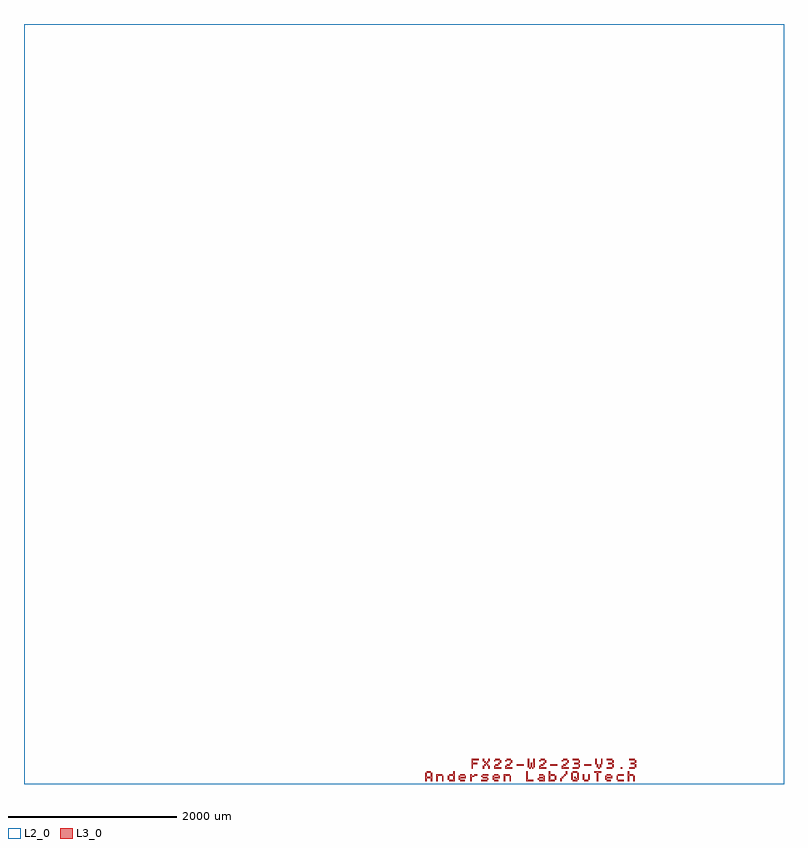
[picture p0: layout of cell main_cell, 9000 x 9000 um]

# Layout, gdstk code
import gdstk
lib = gdstk.Library(unit=1e-6, precision=1e-09)
def R(c, l, rs):  # rectangles x0, y0, x1, y1
    for r in rs: c.add(gdstk.rectangle(r[:2], r[2:], *l))
def A(c, l, x, y, w, h, nx, ny, dx, dy):  # array of equal rectangles
    R(c, l, [(x+i*dx, y+j*dy, x+i*dx+w, y+j*dy+h) for i in range(nx) for j in range(ny)])
def P(c, l, *ps):  # polygons
    for p in ps: c.add(gdstk.Polygon(p, *l))
L2_0 = (2, 0)
L3_0 = (3, 0)

main_cell = lib.new_cell('main_cell')
R(main_cell, L2_0, [(500,-9500,9500,-500)])
A(main_cell, L3_0, 6333.333, -9283.333, 83.334, 16.666, 3, 1, 400, 0)
A(main_cell, L3_0, 6133.333, -9250, 16.667, 33.333, 3, 1, 800, 0)
A(main_cell, L3_0, 6266.667, -9250, 16.666, 33.333, 4, 1, 400, 0)
R(main_cell, L3_0, [(5450,-9466.667,5466.667,-9400), (5666.667,-9466.667,5716.667,-9450), (5916.667,-9466.667,5983.333,-9450), (6066.667,-9466.667,6116.667,-9450), (6250,-9466.667,6266.667,-9400), (6850,-9466.667,6866.667,-9433.333), (7133.333,-9466.667,7183.333,-9450), (7400,-9466.667,7450,-9450), (7533.333,-9466.667,7600,-9450), (7716.667,-9466.667,7733.333,-9400), (5516.667,-9450,5533.333,-9400), (5983.333,-9450,6000,-9433.333), (6583.333,-9450,6600,-9433.333), (6783.333,-9450,6800,-9400), (6983.333,-9450,7000,-9366.667), (7116.667,-9450,7133.333,-9383.333), (7183.333,-9450,7200,-9383.333), (7516.667,-9450,7533.333,-9400), (5933.333,-9433.333,5983.333,-9416.667), (6866.667,-9433.333,6883.333,-9416.667), (7016.667,-9433.333,7033.333,-9416.667), (5916.667,-9416.667,5933.333,-9400), (6883.333,-9416.667,6900,-9400), (5666.667,-9400,5716.667,-9383.333), (5833.333,-9400,5866.667,-9383.333), (5933.333,-9400,6000,-9383.333), (6066.667,-9400,6116.667,-9383.333), (6600,-9400,6650,-9383.333), (6900,-9400,6916.667,-9383.333), (7400,-9400,7450,-9383.333), (7533.333,-9400,7600,-9383.333), (6916.667,-9383.333,6933.333,-9350), (5266.667,-9366.667,5316.667,-9350), (7000,-9366.667,7050,-9350), (5933.333,-9316.667,5950,-9283.333), (6000,-9316.667,6016.667,-9283.333), (6483.333,-9316.667,6500,-9300), (6516.667,-9316.667,6533.333,-9300), (7000,-9316.667,7066.667,-9300), (7300,-9316.667,7316.667,-9300), (7400,-9316.667,7466.667,-9300), (7566.667,-9316.667,7583.333,-9300), (7666.667,-9316.667,7733.333,-9300), (6466.667,-9300,6483.333,-9200), (6500,-9300,6516.667,-9250), (6533.333,-9300,6550,-9200), (7066.667,-9300,7083.333,-9266.667), (7283.333,-9300,7300,-9266.667), (7316.667,-9300,7333.333,-9266.667), (7466.667,-9300,7483.333,-9266.667), (7733.333,-9300,7750,-9266.667), (5950,-9283.333,5966.667,-9266.667), (5983.333,-9283.333,6000,-9266.667), (6083.333,-9283.333,6116.667,-9266.667), (6216.667,-9283.333,6250,-9266.667), (6616.667,-9283.333,6650,-9266.667), (6883.333,-9283.333,6916.667,-9266.667), (5966.667,-9266.667,5983.333,-9250), (6116.667,-9266.667,6133.333,-9250), (6250,-9266.667,6266.667,-9250), (6650,-9266.667,6666.667,-9250), (6916.667,-9266.667,6933.333,-9250), (7016.667,-9266.667,7066.667,-9250), (7266.667,-9266.667,7283.333,-9200), (7333.333,-9266.667,7350,-9200), (7416.667,-9266.667,7466.667,-9250), (7683.333,-9266.667,7733.333,-9250), (5950,-9250,5966.667,-9233.333), (5983.333,-9250,6000,-9233.333), (5933.333,-9233.333,5950,-9200), (6000,-9233.333,6016.667,-9200), (6066.667,-9233.333,6083.333,-9216.667), (6200,-9233.333,6216.667,-9216.667), (6600,-9233.333,6616.667,-9216.667), (6866.667,-9233.333,6883.333,-9216.667), (6083.333,-9216.667,6133.333,-9200), (6216.667,-9216.667,6266.667,-9200), (6616.667,-9216.667,6666.667,-9200), (6883.333,-9216.667,6933.333,-9200), (7000,-9216.667,7066.667,-9200), (7400,-9216.667,7466.667,-9200), (7666.667,-9216.667,7733.333,-9200)])
P(main_cell, L3_0, [(5250,-9466.667),(5250,-9366.667),(5266.667,-9366.667),(5266.667,-9416.667),(5316.667,-9416.667),(5316.667,-9366.667),(5333.333,-9366.667),(5333.333,-9466.667),(5316.667,-9466.667),(5316.667,-9433.333),(5266.667,-9433.333),(5266.667,-9466.667)],
  [(5383.333,-9466.667),(5383.333,-9383.333),(5450,-9383.333),(5450,-9400),(5400,-9400),(5400,-9466.667)],
  [(5533.333,-9466.667),(5533.333,-9450),(5583.333,-9450),(5583.333,-9400),(5533.333,-9400),(5533.333,-9383.333),(5583.333,-9383.333),(5583.333,-9350),(5600,-9350),(5600,-9466.667)],
  [(5650,-9450),(5650,-9400),(5666.667,-9400),(5666.667,-9416.667),(5716.667,-9416.667),(5716.667,-9400),(5733.333,-9400),(5733.333,-9433.333),(5666.667,-9433.333),(5666.667,-9450)],
  [(5783.333,-9466.667),(5783.333,-9383.333),(5800,-9383.333),(5800,-9400),(5833.333,-9400),(5833.333,-9416.667),(5800,-9416.667),(5800,-9466.667)],
  [(6050,-9450),(6050,-9400),(6066.667,-9400),(6066.667,-9416.667),(6116.667,-9416.667),(6116.667,-9400),(6133.333,-9400),(6133.333,-9433.333),(6066.667,-9433.333),(6066.667,-9450)],
  [(6183.333,-9466.667),(6183.333,-9383.333),(6250,-9383.333),(6250,-9400),(6200,-9400),(6200,-9466.667)],
  [(6450,-9466.667),(6450,-9350),(6466.667,-9350),(6466.667,-9450),(6533.333,-9450),(6533.333,-9466.667)],
  [(6600,-9466.667),(6600,-9450),(6650,-9450),(6650,-9433.333),(6600,-9433.333),(6600,-9416.667),(6650,-9416.667),(6650,-9400),(6666.667,-9400),(6666.667,-9466.667)],
  [(6716.667,-9466.667),(6716.667,-9350),(6733.333,-9350),(6733.333,-9383.333),(6783.333,-9383.333),(6783.333,-9400),(6733.333,-9400),(6733.333,-9450),(6783.333,-9450),(6783.333,-9466.667)],
  [(7000,-9466.667),(7000,-9450),(7033.333,-9450),(7033.333,-9433.333),(7050,-9433.333),(7050,-9366.667),(7066.667,-9366.667),(7066.667,-9450),(7050,-9450),(7050,-9466.667)],
  [(7283.333,-9466.667),(7283.333,-9366.667),(7250,-9366.667),(7250,-9350),(7333.333,-9350),(7333.333,-9366.667),(7300,-9366.667),(7300,-9466.667)],
  [(7383.333,-9450),(7383.333,-9400),(7400,-9400),(7400,-9416.667),(7450,-9416.667),(7450,-9400),(7466.667,-9400),(7466.667,-9433.333),(7400,-9433.333),(7400,-9450)],
  [(7650,-9466.667),(7650,-9350),(7666.667,-9350),(7666.667,-9383.333),(7716.667,-9383.333),(7716.667,-9400),(7666.667,-9400),(7666.667,-9466.667)],
  [(5800,-9316.667),(5800,-9200),(5883.333,-9200),(5883.333,-9216.667),(5816.667,-9216.667),(5816.667,-9250),(5866.667,-9250),(5866.667,-9266.667),(5816.667,-9266.667),(5816.667,-9316.667)],
  [(6066.667,-9316.667),(6066.667,-9283.333),(6083.333,-9283.333),(6083.333,-9300),(6150,-9300),(6150,-9316.667)],
  [(6200,-9316.667),(6200,-9283.333),(6216.667,-9283.333),(6216.667,-9300),(6283.333,-9300),(6283.333,-9316.667)],
  [(6600,-9316.667),(6600,-9283.333),(6616.667,-9283.333),(6616.667,-9300),(6683.333,-9300),(6683.333,-9316.667)],
  [(6866.667,-9316.667),(6866.667,-9283.333),(6883.333,-9283.333),(6883.333,-9300),(6950,-9300),(6950,-9316.667)])

lib.write_gds('main_cell.gds')
